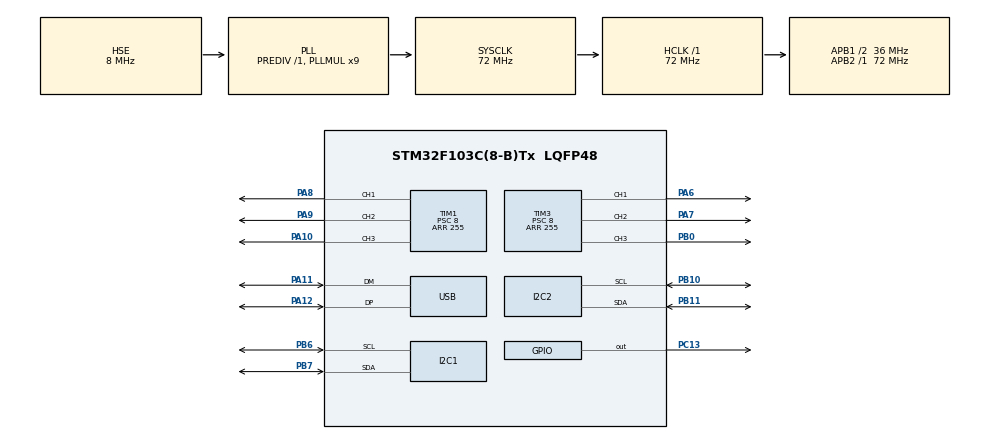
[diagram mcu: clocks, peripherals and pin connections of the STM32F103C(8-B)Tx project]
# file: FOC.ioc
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I2C1.I2C_Mode=I2C_Standard
Mcu.Family=STM32F1
Mcu.Name=STM32F103C(8-B)Tx
Mcu.Package=LQFP48
NVIC.PriorityGroup=NVIC_PRIORITYGROUP_4
NVIC.TIM2_IRQn=true\:15\:0\:false\:false\:true\:false\:true\:true
NVIC.TimeBase=TIM2_IRQn
NVIC.TimeBaseIP=TIM2
NVIC.USB_LP_CAN1_RX0_IRQn=true\:0\:0\:false\:false\:true\:false\:true\:true
PA10.Signal=S_TIM1_CH3
PA11.Mode=Device
PA11.Signal=USB_DM
PA12.Mode=Device
PA12.Signal=USB_DP
PA13.Mode=Serial_Wire
PA13.Signal=SYS_JTMS-SWDIO
PA14.Mode=Serial_Wire
PA14.Signal=SYS_JTCK-SWCLK
PA6.Signal=S_TIM3_CH1
PA7.Signal=S_TIM3_CH2
PA8.Signal=S_TIM1_CH1
PA9.Signal=S_TIM1_CH2
PB0.Signal=S_TIM3_CH3
PB10.Mode=I2C
PB10.Signal=I2C2_SCL
PB11.Mode=I2C
PB11.Signal=I2C2_SDA
PB6.Mode=I2C
PB6.Signal=I2C1_SCL
PB7.Mode=I2C
PB7.Signal=I2C1_SDA
PC13-TAMPER-RTC.Signal=GPIO_Output
PD0-OSC_IN.Mode=HSE-External-Oscillator
PD0-OSC_IN.Signal=RCC_OSC_IN
PD1-OSC_OUT.Mode=HSE-External-Oscillator
PD1-OSC_OUT.Signal=RCC_OSC_OUT
ProjectManager.HeapSize=0x200
ProjectManager.StackSize=0x400
ProjectManager.TargetToolchain=STM32CubeIDE
RCC.AHBFreq_Value=72000000
RCC.APB1CLKDivider=RCC_HCLK_DIV2
RCC.APB1Freq_Value=36000000
RCC.APB1TimFreq_Value=72000000
RCC.APB2Freq_Value=72000000
RCC.APB2TimFreq_Value=72000000
RCC.HCLKFreq_Value=72000000
RCC.PLLMUL=RCC_PLL_MUL9
RCC.PLLSourceVirtual=RCC_PLLSOURCE_HSE
RCC.SYSCLKFreq_VALUE=72000000
RCC.SYSCLKSource=RCC_SYSCLKSOURCE_PLLCLK
RCC.USBFreq_Value=48000000
RCC.USBPrescaler=RCC_USBCLKSOURCE_PLL_DIV1_5
SH.S_TIM1_CH1.0=TIM1_CH1,PWM Generation1 CH1
SH.S_TIM1_CH2.0=TIM1_CH2,PWM Generation2 CH2
SH.S_TIM1_CH3.0=TIM1_CH3,PWM Generation3 CH3
SH.S_TIM3_CH1.0=TIM3_CH1,PWM Generation1 CH1
SH.S_TIM3_CH2.0=TIM3_CH2,PWM Generation2 CH2
SH.S_TIM3_CH3.0=TIM3_CH3,PWM Generation3 CH3
TIM1.AutoReloadPreload=TIM_AUTORELOAD_PRELOAD_ENABLE
TIM1.Channel-PWM\ Generation1\ CH1=TIM_CHANNEL_1
TIM1.Channel-PWM\ Generation2\ CH2=TIM_CHANNEL_2
TIM1.Channel-PWM\ Generation3\ CH3=TIM_CHANNEL_3
TIM1.Period=255
TIM1.Prescaler=8
TIM3.AutoReloadPreload=TIM_AUTORELOAD_PRELOAD_ENABLE
TIM3.Channel-PWM\ Generation1\ CH1=TIM_CHANNEL_1
TIM3.Channel-PWM\ Generation2\ CH2=TIM_CHANNEL_2
TIM3.Channel-PWM\ Generation3\ CH3=TIM_CHANNEL_3
TIM3.Period=255
TIM3.Prescaler=8
USB_DEVICE.CLASS_NAME_FS=CDC
USB_DEVICE.VirtualMode=Cdc
USB_DEVICE.VirtualModeFS=Cdc_FS
VP_SYS_VS_tim2.Mode=TIM2
VP_TIM1_VS_ClockSourceINT.Mode=Internal
VP_TIM3_VS_ClockSourceINT.Mode=Internal
VP_USB_DEVICE_VS_USB_DEVICE_CDC_FS.Mode=CDC_FS
board=custom

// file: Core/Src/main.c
/* USER CODE BEGIN Header */
/**
  ******************************************************************************
  * @file           : main.c
  * @brief          : Main program body
  ******************************************************************************
  * @attention
  *
  * Copyright (c) 2025 STMicroelectronics.
  * All rights reserved.
  *
  * This software is licensed under terms that can be found in the LICENSE file
  * in the root directory of this software component.
  * If no LICENSE file comes with this software, it is provided AS-IS.
  *
  ******************************************************************************
  */
/* USER CODE END Header */
#include "main.h"
#include "usb_device.h"

/* USER CODE BEGIN Includes */
#include "usbd_cdc_if.h"
#include "foc.h"
#include "AS5600.h"
#include "timer_utils.h"
#include <strings.h>
/* USER CODE END Includes */

I2C_HandleTypeDef hi2c1;
I2C_HandleTypeDef hi2c2;

TIM_HandleTypeDef htim1;
TIM_HandleTypeDef htim3;

void SystemClock_Config(void);
static void MX_GPIO_Init(void);
static void MX_I2C1_Init(void);
static void MX_TIM1_Init(void);
static void MX_I2C2_Init(void);
static void MX_TIM3_Init(void);

/* USER CODE BEGIN 0 */

/* USB receive buffer */
uint8_t usb_rx_buffer[32];

/* USER CODE END 0 */

int main(void)
{

  /* MCU Configuration--------------------------------------------------------*/

  /* Reset of all peripherals, Initializes the Flash interface and the Systick. */
  HAL_Init();

  /* Configure the system clock */
  SystemClock_Config();

  /* Initialize all configured peripherals */
  MX_GPIO_Init();
  MX_I2C1_Init();
  MX_TIM1_Init();
  MX_I2C2_Init();
  MX_USB_DEVICE_Init();
  MX_TIM3_Init();
  /* USER CODE BEGIN 2 */

  /* Init timer (timer_utils.h) */
  DWT_Init();

  /* Start pwm timer channels */
  PWM_Start_3_Channel(&htim1);

  /* Motor, sensor objects creation & initialization */
  Motor m1 = MotorInit(&htim1, 12, 7);
  AS5600 sensor1;
  AS5600_Init(&sensor1, &hi2c1, 1);
  m1.sensor = &sensor1;
  //LinkSensor(&m1, &sensor1, &hi2c1);

  /* USB output buffer */
  uint8_t usb_tx_buffer[64];

  /* USER CODE END 2 */

  /* Infinite loop */
  /* USER CODE BEGIN WHILE */
  while (1)
  {
	  /* Set open loop velocity */
	  // OLVelocityControl(&m1, 10);
	  //LinkSensor(&m1, &sensor1, &hi2c1);
	  //BLDC_AutoCalibrate(&m1);
	  sprintf(usb_tx_buffer, "%d\n", (int)(AS5600_ReadAngle(&sensor1)*1000));
	  CDC_Transmit_FS(usb_tx_buffer, strlen((const char*)usb_tx_buffer));

	  /* Output phase voltages to USB serial bus (for debugging) */
	  //MotorDebug(&m1);
	  HAL_Delay(30);
//	  sprintf(usb_tx_buffer, "%d\n", micros());
//	  CDC_Transmit_FS(usb_tx_buffer, strlen((const char*)usb_tx_buffer));
//	  HAL_Delay(10);

    /* USER CODE END WHILE */

  }
}

void SystemClock_Config(void)
{
  RCC_OscInitTypeDef RCC_OscInitStruct = {0};
  RCC_ClkInitTypeDef RCC_ClkInitStruct = {0};
  RCC_PeriphCLKInitTypeDef PeriphClkInit = {0};

  /** Initializes the RCC Oscillators according to the specified parameters
  * in the RCC_OscInitTypeDef structure.
  */
  RCC_OscInitStruct.OscillatorType = RCC_OSCILLATORTYPE_HSE;
  RCC_OscInitStruct.HSEState = RCC_HSE_ON;
  RCC_OscInitStruct.HSEPredivValue = RCC_HSE_PREDIV_DIV1;
  RCC_OscInitStruct.HSIState = RCC_HSI_ON;
  RCC_OscInitStruct.PLL.PLLState = RCC_PLL_ON;
  RCC_OscInitStruct.PLL.PLLSource = RCC_PLLSOURCE_HSE;
  RCC_OscInitStruct.PLL.PLLMUL = RCC_PLL_MUL9;
  if (HAL_RCC_OscConfig(&RCC_OscInitStruct) != HAL_OK)
  {
    Error_Handler();
  }

  /** Initializes the CPU, AHB and APB buses clocks
  */
  RCC_ClkInitStruct.ClockType = RCC_CLOCKTYPE_HCLK|RCC_CLOCKTYPE_SYSCLK
                              |RCC_CLOCKTYPE_PCLK1|RCC_CLOCKTYPE_PCLK2;
  RCC_ClkInitStruct.SYSCLKSource = RCC_SYSCLKSOURCE_PLLCLK;
  RCC_ClkInitStruct.AHBCLKDivider = RCC_SYSCLK_DIV1;
  RCC_ClkInitStruct.APB1CLKDivider = RCC_HCLK_DIV2;
  RCC_ClkInitStruct.APB2CLKDivider = RCC_HCLK_DIV1;

  if (HAL_RCC_ClockConfig(&RCC_ClkInitStruct, FLASH_LATENCY_2) != HAL_OK)
  {
    Error_Handler();
  }
  PeriphClkInit.PeriphClockSelection = RCC_PERIPHCLK_USB;
  PeriphClkInit.UsbClockSelection = RCC_USBCLKSOURCE_PLL_DIV1_5;
  if (HAL_RCCEx_PeriphCLKConfig(&PeriphClkInit) != HAL_OK)
  {
    Error_Handler();
  }
}

static void MX_I2C1_Init(void)
{

  hi2c1.Instance = I2C1;
  hi2c1.Init.ClockSpeed = 100000;
  hi2c1.Init.DutyCycle = I2C_DUTYCYCLE_2;
  hi2c1.Init.OwnAddress1 = 0;
  hi2c1.Init.AddressingMode = I2C_ADDRESSINGMODE_7BIT;
  hi2c1.Init.DualAddressMode = I2C_DUALADDRESS_DISABLE;
  hi2c1.Init.OwnAddress2 = 0;
  hi2c1.Init.GeneralCallMode = I2C_GENERALCALL_DISABLE;
  hi2c1.Init.NoStretchMode = I2C_NOSTRETCH_DISABLE;
  if (HAL_I2C_Init(&hi2c1) != HAL_OK)
  {
    Error_Handler();
  }

}

static void MX_I2C2_Init(void)
{

  hi2c2.Instance = I2C2;
  hi2c2.Init.ClockSpeed = 100000;
  hi2c2.Init.DutyCycle = I2C_DUTYCYCLE_2;
  hi2c2.Init.OwnAddress1 = 0;
  hi2c2.Init.AddressingMode = I2C_ADDRESSINGMODE_7BIT;
  hi2c2.Init.DualAddressMode = I2C_DUALADDRESS_DISABLE;
  hi2c2.Init.OwnAddress2 = 0;
  hi2c2.Init.GeneralCallMode = I2C_GENERALCALL_DISABLE;
  hi2c2.Init.NoStretchMode = I2C_NOSTRETCH_DISABLE;
  if (HAL_I2C_Init(&hi2c2) != HAL_OK)
  {
    Error_Handler();
  }

}

static void MX_TIM1_Init(void)
{

  TIM_ClockConfigTypeDef sClockSourceConfig = {0};
  TIM_MasterConfigTypeDef sMasterConfig = {0};
  TIM_OC_InitTypeDef sConfigOC = {0};
  TIM_BreakDeadTimeConfigTypeDef sBreakDeadTimeConfig = {0};

  htim1.Instance = TIM1;
  htim1.Init.Prescaler = 8;
  htim1.Init.CounterMode = TIM_COUNTERMODE_UP;
  htim1.Init.Period = 255;
  htim1.Init.ClockDivision = TIM_CLOCKDIVISION_DIV1;
  htim1.Init.RepetitionCounter = 0;
  htim1.Init.AutoReloadPreload = TIM_AUTORELOAD_PRELOAD_ENABLE;
  if (HAL_TIM_Base_Init(&htim1) != HAL_OK)
  {
    Error_Handler();
  }
  sClockSourceConfig.ClockSource = TIM_CLOCKSOURCE_INTERNAL;
  if (HAL_TIM_ConfigClockSource(&htim1, &sClockSourceConfig) != HAL_OK)
  {
    Error_Handler();
  }
  if (HAL_TIM_PWM_Init(&htim1) != HAL_OK)
  {
    Error_Handler();
  }
  sMasterConfig.MasterOutputTrigger = TIM_TRGO_RESET;
  sMasterConfig.MasterSlaveMode = TIM_MASTERSLAVEMODE_DISABLE;
  if (HAL_TIMEx_MasterConfigSynchronization(&htim1, &sMasterConfig) != HAL_OK)
  {
    Error_Handler();
  }
  sConfigOC.OCMode = TIM_OCMODE_PWM1;
  sConfigOC.Pulse = 0;
  sConfigOC.OCPolarity = TIM_OCPOLARITY_HIGH;
  sConfigOC.OCNPolarity = TIM_OCNPOLARITY_HIGH;
  sConfigOC.OCFastMode = TIM_OCFAST_DISABLE;
  sConfigOC.OCIdleState = TIM_OCIDLESTATE_RESET;
  sConfigOC.OCNIdleState = TIM_OCNIDLESTATE_RESET;
  if (HAL_TIM_PWM_ConfigChannel(&htim1, &sConfigOC, TIM_CHANNEL_1) != HAL_OK)
  {
    Error_Handler();
  }
  if (HAL_TIM_PWM_ConfigChannel(&htim1, &sConfigOC, TIM_CHANNEL_2) != HAL_OK)
  {
    Error_Handler();
  }
  if (HAL_TIM_PWM_ConfigChannel(&htim1, &sConfigOC, TIM_CHANNEL_3) != HAL_OK)
  {
    Error_Handler();
  }
  sBreakDeadTimeConfig.OffStateRunMode = TIM_OSSR_DISABLE;
  sBreakDeadTimeConfig.OffStateIDLEMode = TIM_OSSI_DISABLE;
  sBreakDeadTimeConfig.LockLevel = TIM_LOCKLEVEL_OFF;
  sBreakDeadTimeConfig.DeadTime = 0;
  sBreakDeadTimeConfig.BreakState = TIM_BREAK_DISABLE;
  sBreakDeadTimeConfig.BreakPolarity = TIM_BREAKPOLARITY_HIGH;
  sBreakDeadTimeConfig.AutomaticOutput = TIM_AUTOMATICOUTPUT_DISABLE;
  if (HAL_TIMEx_ConfigBreakDeadTime(&htim1, &sBreakDeadTimeConfig) != HAL_OK)
  {
    Error_Handler();
  }
  HAL_TIM_MspPostInit(&htim1);

}

static void MX_TIM3_Init(void)
{

  TIM_ClockConfigTypeDef sClockSourceConfig = {0};
  TIM_MasterConfigTypeDef sMasterConfig = {0};
  TIM_OC_InitTypeDef sConfigOC = {0};

  htim3.Instance = TIM3;
  htim3.Init.Prescaler = 8;
  htim3.Init.CounterMode = TIM_COUNTERMODE_UP;
  htim3.Init.Period = 255;
  htim3.Init.ClockDivision = TIM_CLOCKDIVISION_DIV1;
  htim3.Init.AutoReloadPreload = TIM_AUTORELOAD_PRELOAD_ENABLE;
  if (HAL_TIM_Base_Init(&htim3) != HAL_OK)
  {
    Error_Handler();
  }
  sClockSourceConfig.ClockSource = TIM_CLOCKSOURCE_INTERNAL;
  if (HAL_TIM_ConfigClockSource(&htim3, &sClockSourceConfig) != HAL_OK)
  {
    Error_Handler();
  }
  if (HAL_TIM_PWM_Init(&htim3) != HAL_OK)
  {
    Error_Handler();
  }
  sMasterConfig.MasterOutputTrigger = TIM_TRGO_RESET;
  sMasterConfig.MasterSlaveMode = TIM_MASTERSLAVEMODE_DISABLE;
  if (HAL_TIMEx_MasterConfigSynchronization(&htim3, &sMasterConfig) != HAL_OK)
  {
    Error_Handler();
  }
  sConfigOC.OCMode = TIM_OCMODE_PWM1;
  sConfigOC.Pulse = 0;
  sConfigOC.OCPolarity = TIM_OCPOLARITY_HIGH;
  sConfigOC.OCFastMode = TIM_OCFAST_DISABLE;
  if (HAL_TIM_PWM_ConfigChannel(&htim3, &sConfigOC, TIM_CHANNEL_1) != HAL_OK)
  {
    Error_Handler();
  }
  if (HAL_TIM_PWM_ConfigChannel(&htim3, &sConfigOC, TIM_CHANNEL_2) != HAL_OK)
  {
    Error_Handler();
  }
  if (HAL_TIM_PWM_ConfigChannel(&htim3, &sConfigOC, TIM_CHANNEL_3) != HAL_OK)
  {
    Error_Handler();
  }
  HAL_TIM_MspPostInit(&htim3);

}

static void MX_GPIO_Init(void)
{
  GPIO_InitTypeDef GPIO_InitStruct = {0};

  /* GPIO Ports Clock Enable */
  __HAL_RCC_GPIOC_CLK_ENABLE();
  __HAL_RCC_GPIOD_CLK_ENABLE();
  __HAL_RCC_GPIOA_CLK_ENABLE();
  __HAL_RCC_GPIOB_CLK_ENABLE();

  /*Configure GPIO pin Output Level */
  HAL_GPIO_WritePin(GPIOC, GPIO_PIN_13, GPIO_PIN_RESET);

  /*Configure GPIO pin : PC13 */
  GPIO_InitStruct.Pin = GPIO_PIN_13;
  GPIO_InitStruct.Mode = GPIO_MODE_OUTPUT_PP;
  GPIO_InitStruct.Pull = GPIO_NOPULL;
  GPIO_InitStruct.Speed = GPIO_SPEED_FREQ_LOW;
  HAL_GPIO_Init(GPIOC, &GPIO_InitStruct);

}

void HAL_TIM_PeriodElapsedCallback(TIM_HandleTypeDef *htim)
{
  if (htim->Instance == TIM2) {
    HAL_IncTick();
  }
}

void Error_Handler(void)
{
  __disable_irq();
  while (1)
  {
  }
}
